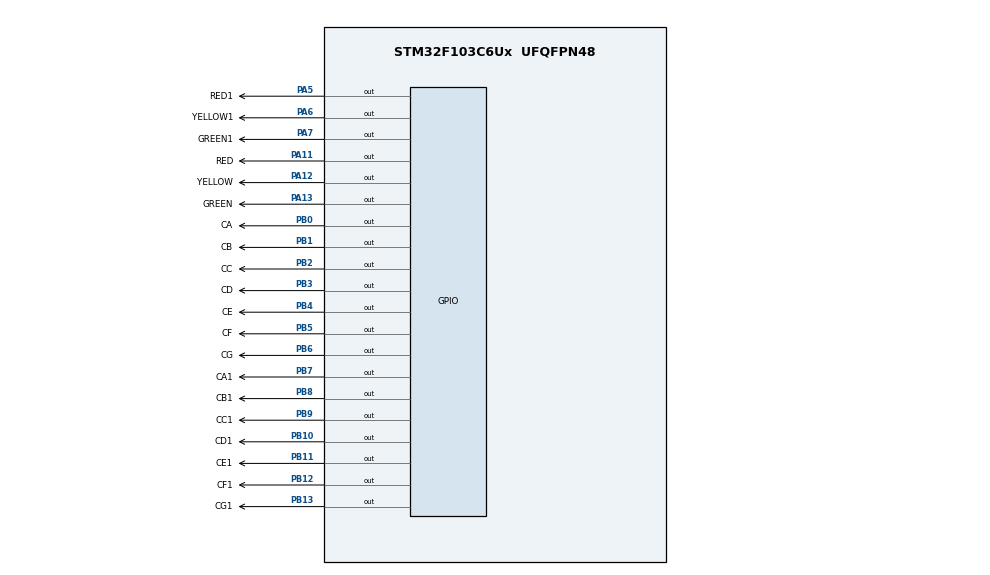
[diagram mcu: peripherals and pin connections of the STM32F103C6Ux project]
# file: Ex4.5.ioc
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Mcu.Family=STM32F1
Mcu.Name=STM32F103C6Ux
Mcu.Package=UFQFPN48
NVIC.PriorityGroup=NVIC_PRIORITYGROUP_4
PA11.GPIO_Label=RED
PA11.Signal=GPIO_Output
PA12.GPIO_Label=YELLOW
PA12.Signal=GPIO_Output
PA13.GPIO_Label=GREEN
PA13.Signal=GPIO_Output
PA5.GPIO_Label=RED1
PA5.Signal=GPIO_Output
PA6.GPIO_Label=YELLOW1
PA6.Signal=GPIO_Output
PA7.GPIO_Label=GREEN1
PA7.Signal=GPIO_Output
PB0.GPIO_Label=CA
PB0.Signal=GPIO_Output
PB1.GPIO_Label=CB
PB1.Signal=GPIO_Output
PB10.GPIO_Label=CD1
PB10.Signal=GPIO_Output
PB11.GPIO_Label=CE1
PB11.Signal=GPIO_Output
PB12.GPIO_Label=CF1
PB12.Signal=GPIO_Output
PB13.GPIO_Label=CG1
PB13.Signal=GPIO_Output
PB2.GPIO_Label=CC
PB2.Signal=GPIO_Output
PB3.GPIO_Label=CD
PB3.Signal=GPIO_Output
PB4.GPIO_Label=CE
PB4.Signal=GPIO_Output
PB5.GPIO_Label=CF
PB5.Signal=GPIO_Output
PB6.GPIO_Label=CG
PB6.Signal=GPIO_Output
PB7.GPIO_Label=CA1
PB7.Signal=GPIO_Output
PB8.GPIO_Label=CB1
PB8.Signal=GPIO_Output
PB9.GPIO_Label=CC1
PB9.Signal=GPIO_Output
ProjectManager.HeapSize=0x200
ProjectManager.StackSize=0x400
ProjectManager.TargetToolchain=STM32CubeIDE
RCC.APB1Freq_Value=8000000
RCC.APB2Freq_Value=8000000
VP_SYS_VS_ND.Mode=No_Debug
board=custom

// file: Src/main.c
/* USER CODE BEGIN Header */
/**
  ******************************************************************************
  * @file           : main.c
  * @brief          : Main program body
  ******************************************************************************
  * @attention
  *
  * <h2><center>&copy; Copyright (c) 2022 STMicroelectronics.
  * All rights reserved.</center></h2>
  *
  * This software component is licensed by ST under BSD 3-Clause license,
  * the "License"; You may not use this file except in compliance with the
  * License. You may obtain a copy of the License at:
  *                        opensource.org/licenses/BSD-3-Clause
  *
  ******************************************************************************
  */
/* USER CODE END Header */
#include "main.h"

void SystemClock_Config(void);
static void MX_GPIO_Init(void);

int main(void)
{

  /* MCU Configuration--------------------------------------------------------*/

  /* Reset of all peripherals, Initializes the Flash interface and the Systick. */
  HAL_Init();

  /* USER CODE BEGIN Init */
  void display7SEG(int num);
  void display7SEG1(int num);
  /* USER CODE END Init */

  /* Configure the system clock */
  SystemClock_Config();

  /* Initialize all configured peripherals */
  MX_GPIO_Init();

  /* Infinite loop */
  while (1)
  {

    /* USER CODE BEGIN 3 */
	  int demdo =5;
	  int demvang=2;
	  int demxanh=3;
	  int demdo1 =5;
	  int demvang1=2;
	  int demxanh1=3;
	  HAL_GPIO_WritePin ( RED_GPIO_Port , RED_Pin ,RESET ) ;
	  HAL_GPIO_WritePin ( YELLOW_GPIO_Port , YELLOW_Pin ,SET ) ;
	  HAL_GPIO_WritePin ( GREEN_GPIO_Port , GREEN_Pin ,SET ) ;

	  HAL_GPIO_WritePin ( RED1_GPIO_Port , RED1_Pin ,SET ) ;
	  HAL_GPIO_WritePin ( YELLOW1_GPIO_Port , YELLOW1_Pin ,SET ) ;
	  HAL_GPIO_WritePin ( GREEN1_GPIO_Port , GREEN1_Pin ,RESET ) ;
	  while(demdo>0){
		  display7SEG(demdo--);
		  if(demxanh1>=1){
			  display7SEG1(demxanh1--);
		  }
		  else{
			  HAL_GPIO_WritePin ( YELLOW1_GPIO_Port , YELLOW1_Pin ,RESET ) ;
			  HAL_GPIO_WritePin ( GREEN1_GPIO_Port , GREEN1_Pin ,SET ) ;
			  display7SEG1(demvang1--);
		  }
		  HAL_Delay(1000);
	  }
	  HAL_GPIO_WritePin ( RED_GPIO_Port , RED_Pin ,SET ) ;
	  HAL_GPIO_WritePin ( YELLOW_GPIO_Port , YELLOW_Pin ,RESET ) ;
	  HAL_GPIO_WritePin ( GREEN_GPIO_Port , GREEN_Pin ,SET ) ;

	  while(demvang>0){
	  	  display7SEG(demvang--);
	  	HAL_GPIO_WritePin ( RED1_GPIO_Port , RED1_Pin ,RESET ) ;
	  	HAL_GPIO_WritePin ( YELLOW1_GPIO_Port , YELLOW1_Pin ,SET ) ;
	  	HAL_GPIO_WritePin ( GREEN1_GPIO_Port , GREEN1_Pin ,SET ) ;
	  	  display7SEG1(demdo1--);
	  	  HAL_Delay(1000);
	  }
	  HAL_GPIO_WritePin ( RED_GPIO_Port , RED_Pin ,SET ) ;
	  HAL_GPIO_WritePin ( YELLOW_GPIO_Port , YELLOW_Pin ,SET ) ;
	  HAL_GPIO_WritePin ( GREEN_GPIO_Port , GREEN_Pin ,RESET ) ;

	  HAL_GPIO_WritePin ( RED1_GPIO_Port , RED1_Pin ,RESET ) ;
	  HAL_GPIO_WritePin ( YELLOW1_GPIO_Port , YELLOW1_Pin ,SET ) ;
	  HAL_GPIO_WritePin ( GREEN1_GPIO_Port , GREEN1_Pin ,SET ) ;
	  while(demxanh>0){
	  	  display7SEG(demxanh--);
	  	  display7SEG1(demdo1--);
	  	  HAL_Delay(1000);
	  }
  }
  /* USER CODE END 3 */
}

void SystemClock_Config(void)
{
  RCC_OscInitTypeDef RCC_OscInitStruct = {0};
  RCC_ClkInitTypeDef RCC_ClkInitStruct = {0};

  /** Initializes the RCC Oscillators according to the specified parameters
  * in the RCC_OscInitTypeDef structure.
  */
  RCC_OscInitStruct.OscillatorType = RCC_OSCILLATORTYPE_HSI;
  RCC_OscInitStruct.HSIState = RCC_HSI_ON;
  RCC_OscInitStruct.HSICalibrationValue = RCC_HSICALIBRATION_DEFAULT;
  RCC_OscInitStruct.PLL.PLLState = RCC_PLL_NONE;
  if (HAL_RCC_OscConfig(&RCC_OscInitStruct) != HAL_OK)
  {
    Error_Handler();
  }
  /** Initializes the CPU, AHB and APB buses clocks
  */
  RCC_ClkInitStruct.ClockType = RCC_CLOCKTYPE_HCLK|RCC_CLOCKTYPE_SYSCLK
                              |RCC_CLOCKTYPE_PCLK1|RCC_CLOCKTYPE_PCLK2;
  RCC_ClkInitStruct.SYSCLKSource = RCC_SYSCLKSOURCE_HSI;
  RCC_ClkInitStruct.AHBCLKDivider = RCC_SYSCLK_DIV1;
  RCC_ClkInitStruct.APB1CLKDivider = RCC_HCLK_DIV1;
  RCC_ClkInitStruct.APB2CLKDivider = RCC_HCLK_DIV1;

  if (HAL_RCC_ClockConfig(&RCC_ClkInitStruct, FLASH_LATENCY_0) != HAL_OK)
  {
    Error_Handler();
  }
}

static void MX_GPIO_Init(void)
{
  GPIO_InitTypeDef GPIO_InitStruct = {0};

  /* GPIO Ports Clock Enable */
  __HAL_RCC_GPIOA_CLK_ENABLE();
  __HAL_RCC_GPIOB_CLK_ENABLE();

  /*Configure GPIO pin Output Level */
  HAL_GPIO_WritePin(GPIOA, RED1_Pin|YELLOW1_Pin|GREEN1_Pin|RED_Pin
                          |YELLOW_Pin|GREEN_Pin, GPIO_PIN_RESET);

  /*Configure GPIO pin Output Level */
  HAL_GPIO_WritePin(GPIOB, CA_Pin|CB_Pin|CC_Pin|CD1_Pin
                          |CE1_Pin|CF1_Pin|CG1_Pin|CD_Pin
                          |CE_Pin|CF_Pin|CG_Pin|CA1_Pin
                          |CB1_Pin|CC1_Pin, GPIO_PIN_RESET);

  /*Configure GPIO pins : RED1_Pin YELLOW1_Pin GREEN1_Pin RED_Pin
                           YELLOW_Pin GREEN_Pin */
  GPIO_InitStruct.Pin = RED1_Pin|YELLOW1_Pin|GREEN1_Pin|RED_Pin
                          |YELLOW_Pin|GREEN_Pin;
  GPIO_InitStruct.Mode = GPIO_MODE_OUTPUT_PP;
  GPIO_InitStruct.Pull = GPIO_NOPULL;
  GPIO_InitStruct.Speed = GPIO_SPEED_FREQ_LOW;
  HAL_GPIO_Init(GPIOA, &GPIO_InitStruct);

  /*Configure GPIO pins : CA_Pin CB_Pin CC_Pin CD1_Pin
                           CE1_Pin CF1_Pin CG1_Pin CD_Pin
                           CE_Pin CF_Pin CG_Pin CA1_Pin
                           CB1_Pin CC1_Pin */
  GPIO_InitStruct.Pin = CA_Pin|CB_Pin|CC_Pin|CD1_Pin
                          |CE1_Pin|CF1_Pin|CG1_Pin|CD_Pin
                          |CE_Pin|CF_Pin|CG_Pin|CA1_Pin
                          |CB1_Pin|CC1_Pin;
  GPIO_InitStruct.Mode = GPIO_MODE_OUTPUT_PP;
  GPIO_InitStruct.Pull = GPIO_NOPULL;
  GPIO_InitStruct.Speed = GPIO_SPEED_FREQ_LOW;
  HAL_GPIO_Init(GPIOB, &GPIO_InitStruct);

}

/* USER CODE BEGIN 4 */
void display7SEG(int num){
	HAL_GPIO_WritePin(CA_GPIO_Port, CA_Pin, 1);
	HAL_GPIO_WritePin(CB_GPIO_Port, CB_Pin, 1);
	HAL_GPIO_WritePin(CC_GPIO_Port, CC_Pin, 1);
	HAL_GPIO_WritePin(CD_GPIO_Port, CD_Pin, 1);
	HAL_GPIO_WritePin(CE_GPIO_Port, CE_Pin, 1);
	HAL_GPIO_WritePin(CF_GPIO_Port, CF_Pin, 1);
	HAL_GPIO_WritePin(CG_GPIO_Port, CG_Pin, 1);
	switch(num){
	case 0:{
		HAL_GPIO_WritePin(CA_GPIO_Port, CA_Pin, 0);
		HAL_GPIO_WritePin(CB_GPIO_Port, CB_Pin, 0);
		HAL_GPIO_WritePin(CC_GPIO_Port, CC_Pin, 0);
		HAL_GPIO_WritePin(CD_GPIO_Port, CD_Pin, 0);
		HAL_GPIO_WritePin(CE_GPIO_Port, CE_Pin, 0);
		HAL_GPIO_WritePin(CF_GPIO_Port, CF_Pin, 0);
		break;
	}
	case 1:{
		HAL_GPIO_WritePin(CB_GPIO_Port, CB_Pin, 0);
		HAL_GPIO_WritePin(CC_GPIO_Port, CC_Pin, 0);
		break;
	}
	case 2:{
		HAL_GPIO_WritePin(CA_GPIO_Port, CA_Pin, 0);
		HAL_GPIO_WritePin(CB_GPIO_Port, CB_Pin, 0);
		HAL_GPIO_WritePin(CG_GPIO_Port, CG_Pin, 0);
		HAL_GPIO_WritePin(CD_GPIO_Port, CD_Pin, 0);
		HAL_GPIO_WritePin(CE_GPIO_Port, CE_Pin, 0);
		break;
	}
	case 3:{
		HAL_GPIO_WritePin(CA_GPIO_Port, CA_Pin, 0);
		HAL_GPIO_WritePin(CB_GPIO_Port, CB_Pin, 0);
		HAL_GPIO_WritePin(CC_GPIO_Port, CC_Pin, 0);
		HAL_GPIO_WritePin(CD_GPIO_Port, CD_Pin, 0);
		HAL_GPIO_WritePin(CG_GPIO_Port, CG_Pin, 0);
		break;
	}
	case 4:{
		HAL_GPIO_WritePin(CB_GPIO_Port, CB_Pin, 0);
		HAL_GPIO_WritePin(CC_GPIO_Port, CC_Pin, 0);
		HAL_GPIO_WritePin(CG_GPIO_Port, CG_Pin, 0);
		HAL_GPIO_WritePin(CF_GPIO_Port, CF_Pin, 0);
		break;
	}
	case 5:{
		HAL_GPIO_WritePin(CA_GPIO_Port, CA_Pin, 0);
		HAL_GPIO_WritePin(CC_GPIO_Port, CC_Pin, 0);
		HAL_GPIO_WritePin(CD_GPIO_Port, CD_Pin, 0);
		HAL_GPIO_WritePin(CG_GPIO_Port, CG_Pin, 0);
		HAL_GPIO_WritePin(CF_GPIO_Port, CF_Pin, 0);
		break;
	}
	case 6:{
		HAL_GPIO_WritePin(CA_GPIO_Port, CA_Pin, 0);
		HAL_GPIO_WritePin(CG_GPIO_Port, CG_Pin, 0);
		HAL_GPIO_WritePin(CC_GPIO_Port, CC_Pin, 0);
		HAL_GPIO_WritePin(CD_GPIO_Port, CD_Pin, 0);
		HAL_GPIO_WritePin(CE_GPIO_Port, CE_Pin, 0);
		HAL_GPIO_WritePin(CF_GPIO_Port, CF_Pin, 0);
		break;
	}
	case 7:{
		HAL_GPIO_WritePin(CA_GPIO_Port, CA_Pin, 0);
		HAL_GPIO_WritePin(CB_GPIO_Port, CB_Pin, 0);
		HAL_GPIO_WritePin(CC_GPIO_Port, CC_Pin, 0);
		break;
	}
	case 8:{
		HAL_GPIO_WritePin(CA_GPIO_Port, CA_Pin, 0);
		HAL_GPIO_WritePin(CB_GPIO_Port, CB_Pin, 0);
		HAL_GPIO_WritePin(CC_GPIO_Port, CC_Pin, 0);
		HAL_GPIO_WritePin(CD_GPIO_Port, CD_Pin, 0);
		HAL_GPIO_WritePin(CE_GPIO_Port, CE_Pin, 0);
		HAL_GPIO_WritePin(CF_GPIO_Port, CF_Pin, 0);
		HAL_GPIO_WritePin(CG_GPIO_Port, CG_Pin, 0);
		break;
	}
	case 9:{
		HAL_GPIO_WritePin(CA_GPIO_Port, CA_Pin, 0);
		HAL_GPIO_WritePin(CB_GPIO_Port, CB_Pin, 0);
		HAL_GPIO_WritePin(CC_GPIO_Port, CC_Pin, 0);
		HAL_GPIO_WritePin(CD_GPIO_Port, CD_Pin, 0);
		HAL_GPIO_WritePin(CF_GPIO_Port, CF_Pin, 0);
		HAL_GPIO_WritePin(CG_GPIO_Port, CG_Pin, 0);
		break;
	}
	default: break;
	}
}
void display7SEG1(int num){
	HAL_GPIO_WritePin(CA1_GPIO_Port, CA1_Pin, 1);
	HAL_GPIO_WritePin(CB1_GPIO_Port, CB1_Pin, 1);
	HAL_GPIO_WritePin(CC1_GPIO_Port, CC1_Pin, 1);
	HAL_GPIO_WritePin(CD1_GPIO_Port, CD1_Pin, 1);
	HAL_GPIO_WritePin(CE1_GPIO_Port, CE1_Pin, 1);
	HAL_GPIO_WritePin(CF1_GPIO_Port, CF1_Pin, 1);
	HAL_GPIO_WritePin(CG1_GPIO_Port, CG1_Pin, 1);
	switch(num){
	case 0:{
		HAL_GPIO_WritePin(CA1_GPIO_Port, CA1_Pin, 0);
		HAL_GPIO_WritePin(CB1_GPIO_Port, CB1_Pin, 0);
		HAL_GPIO_WritePin(CC1_GPIO_Port, CC1_Pin, 0);
		HAL_GPIO_WritePin(CD1_GPIO_Port, CD1_Pin, 0);
		HAL_GPIO_WritePin(CE1_GPIO_Port, CE1_Pin, 0);
		HAL_GPIO_WritePin(CF1_GPIO_Port, CF1_Pin, 0);
		break;
	}
	case 1:{
		HAL_GPIO_WritePin(CB1_GPIO_Port, CB1_Pin, 0);
		HAL_GPIO_WritePin(CC1_GPIO_Port, CC1_Pin, 0);
		break;
	}
	case 2:{
		HAL_GPIO_WritePin(CA1_GPIO_Port, CA1_Pin, 0);
		HAL_GPIO_WritePin(CB1_GPIO_Port, CB1_Pin, 0);
		HAL_GPIO_WritePin(CG1_GPIO_Port, CG1_Pin, 0);
		HAL_GPIO_WritePin(CD1_GPIO_Port, CD1_Pin, 0);
		HAL_GPIO_WritePin(CE1_GPIO_Port, CE1_Pin, 0);
		break;
	}
	case 3:{
		HAL_GPIO_WritePin(CA1_GPIO_Port, CA1_Pin, 0);
		HAL_GPIO_WritePin(CB1_GPIO_Port, CB1_Pin, 0);
		HAL_GPIO_WritePin(CC1_GPIO_Port, CC1_Pin, 0);
		HAL_GPIO_WritePin(CD1_GPIO_Port, CD1_Pin, 0);
		HAL_GPIO_WritePin(CG1_GPIO_Port, CG1_Pin, 0);
		break;
	}
	case 4:{
		HAL_GPIO_WritePin(CB1_GPIO_Port, CB1_Pin, 0);
		HAL_GPIO_WritePin(CC1_GPIO_Port, CC1_Pin, 0);
		HAL_GPIO_WritePin(CG1_GPIO_Port, CG1_Pin, 0);
		HAL_GPIO_WritePin(CF1_GPIO_Port, CF1_Pin, 0);
		break;
	}
	case 5:{
		HAL_GPIO_WritePin(CA1_GPIO_Port, CA1_Pin, 0);
		HAL_GPIO_WritePin(CC1_GPIO_Port, CC1_Pin, 0);
		HAL_GPIO_WritePin(CD1_GPIO_Port, CD1_Pin, 0);
		HAL_GPIO_WritePin(CG1_GPIO_Port, CG1_Pin, 0);
		HAL_GPIO_WritePin(CF1_GPIO_Port, CF1_Pin, 0);
		break;
	}
	case 6:{
		HAL_GPIO_WritePin(CA1_GPIO_Port, CA1_Pin, 0);
		HAL_GPIO_WritePin(CG1_GPIO_Port, CG1_Pin, 0);
		HAL_GPIO_WritePin(CC1_GPIO_Port, CC1_Pin, 0);
		HAL_GPIO_WritePin(CD1_GPIO_Port, CD1_Pin, 0);
		HAL_GPIO_WritePin(CE1_GPIO_Port, CE1_Pin, 0);
		HAL_GPIO_WritePin(CF1_GPIO_Port, CF1_Pin, 0);
		break;
	}
	case 7:{
		HAL_GPIO_WritePin(CA1_GPIO_Port, CA1_Pin, 0);
		HAL_GPIO_WritePin(CB1_GPIO_Port, CB1_Pin, 0);
		HAL_GPIO_WritePin(CC1_GPIO_Port, CC1_Pin, 0);
		break;
	}
	case 8:{
		HAL_GPIO_WritePin(CA1_GPIO_Port, CA1_Pin, 0);
		HAL_GPIO_WritePin(CB1_GPIO_Port, CB1_Pin, 0);
		HAL_GPIO_WritePin(CC1_GPIO_Port, CC1_Pin, 0);
		HAL_GPIO_WritePin(CD1_GPIO_Port, CD1_Pin, 0);
		HAL_GPIO_WritePin(CE1_GPIO_Port, CE1_Pin, 0);
		HAL_GPIO_WritePin(CF1_GPIO_Port, CF1_Pin, 0);
		HAL_GPIO_WritePin(CG1_GPIO_Port, CG1_Pin, 0);
		break;
	}
	case 9:{
		HAL_GPIO_WritePin(CA1_GPIO_Port, CA1_Pin, 0);
		HAL_GPIO_WritePin(CB1_GPIO_Port, CB1_Pin, 0);
		HAL_GPIO_WritePin(CC1_GPIO_Port, CC1_Pin, 0);
		HAL_GPIO_WritePin(CD1_GPIO_Port, CD1_Pin, 0);
		HAL_GPIO_WritePin(CF1_GPIO_Port, CF1_Pin, 0);
		HAL_GPIO_WritePin(CG1_GPIO_Port, CG1_Pin, 0);
		break;
	}
	default: break;
	}
}
/* USER CODE END 4 */

void Error_Handler(void)
{
  __disable_irq();
  while (1)
  {
  }
}

/************************ (C) COPYRIGHT STMicroelectronics *****END OF FILE****/
